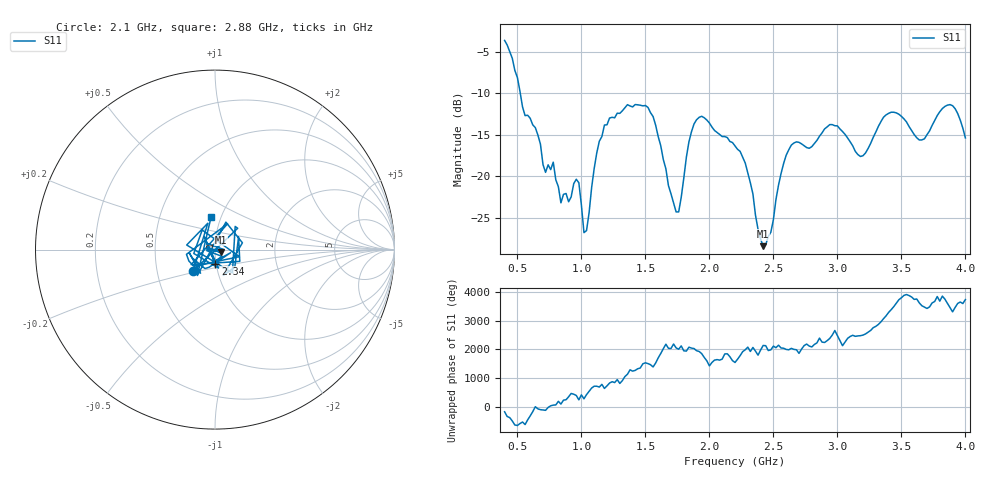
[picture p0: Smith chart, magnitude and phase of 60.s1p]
!Created with skrf (http://scikit-rf.org).
# Hz S RI R 50.0
!freq ReS11 ImS11
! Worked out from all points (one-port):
!   181 points, 400 MHz to 4 GHz, reference 50 ohm
!   lowest |S11| = -28.4 dB at 2.42 GHz (marker M1), VSWR 1.08, Z = 53.6 - j1.45 ohm
!   |S11| at or under -10 dB: 522.6 MHz to end of sweep
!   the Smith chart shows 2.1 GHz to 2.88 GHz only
!   S11 on the Smith chart (normalised r, x): 2.1 GHz: 0.76, -0.19; 2.34 GHz: 0.99, -0.16; 2.88 GHz: 0.90, +0.34
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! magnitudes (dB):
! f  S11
! 400 MHz  -3.6
! 720 MHz  -19.5
! 780 MHz  -18.3
! 840 MHz  -23.2
! 860 MHz  -22.2
! 980 MHz  -20.8
! 1.02 GHz  -26.8
! 1.04 GHz  -26.6
! 1.14 GHz  -15.8
! 1.3 GHz  -12.4
! 1.52 GHz  -11.7
! 1.76 GHz  -24.3
! 1.88 GHz  -13.7
! 2.1 GHz  -15.2
! 2.2 GHz  -16.3
! 2.34 GHz  -22.1
! 2.42 GHz  -28.4
! 2.48 GHz  -26.7
! 2.58 GHz  -18.5
! 2.66 GHz  -16.0
! 2.88 GHz  -14.8
! 3.1 GHz  -15.8
! 3.2 GHz  -17.5
! 3.42 GHz  -12.3
! 3.56 GHz  -14.0
! 3.68 GHz  -15.5
! 3.88 GHz  -11.4
! 4 GHz  -15.4
